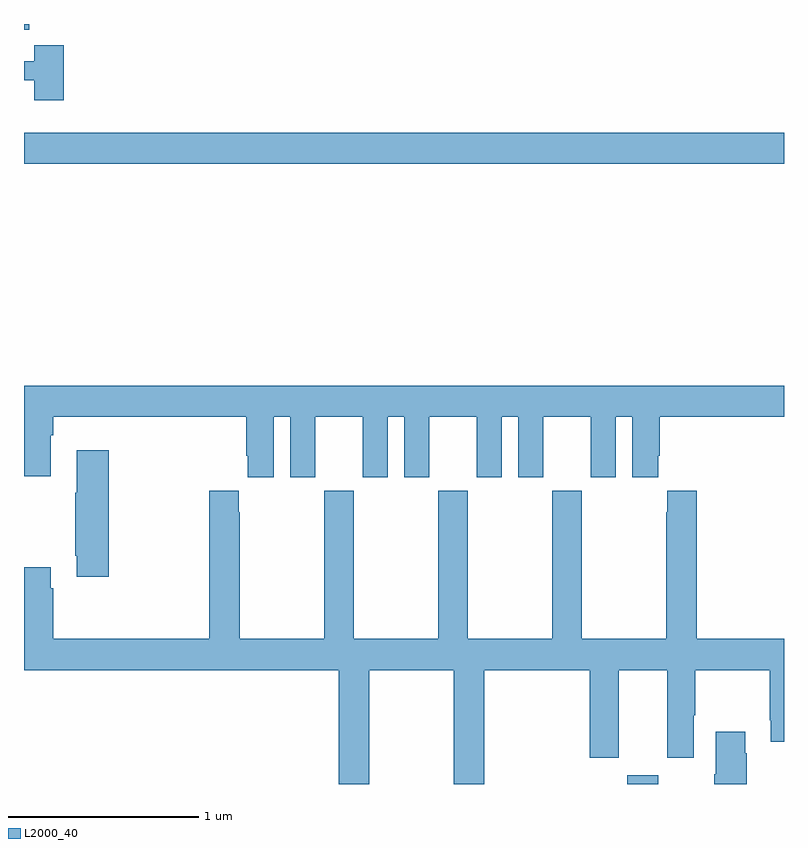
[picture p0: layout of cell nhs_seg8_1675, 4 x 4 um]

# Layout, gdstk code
import gdstk
lib = gdstk.Library(unit=1e-6, precision=1e-09)
def R(c, l, rs):  # rectangles x0, y0, x1, y1
    for r in rs: c.add(gdstk.rectangle(r[:2], r[2:], *l))
def P(c, l, *ps):  # polygons
    for p in ps: c.add(gdstk.Polygon(p, *l))
L2000_40 = (2000, 40)

nhs_seg8_1675 = lib.new_cell('nhs_seg8_1675')
R(nhs_seg8_1675, L2000_40, [(220.175,1115.9,220.339,1115.947), (217,1119.164,221,1119.328), (217,1119.869,217.028,1119.9)])
P(nhs_seg8_1675, L2000_40, [(217.208,1119.787),(217.053,1119.787),(217.053,1119.703),(217,1119.703),(217,1119.603),(217.055,1119.603),(217.055,1119.498),(217.208,1119.498)],
  [(218.314,1117.832),(218.402,1117.832),(218.402,1117.515),(218.533,1117.515),(218.533,1117.832),(218.783,1117.832),(218.783,1117.515),(218.914,1117.515),(218.914,1117.832),(219.002,1117.832),(219.002,1117.515),(219.133,1117.515),(219.133,1117.832),(219.383,1117.832),(219.383,1117.515),(219.514,1117.515),(219.514,1117.832),(219.602,1117.832),(219.602,1117.515),(219.733,1117.515),(219.733,1117.832),(219.983,1117.832),(219.983,1117.515),(220.114,1117.515),(220.114,1117.832),(220.202,1117.832),(220.202,1117.515),(220.339,1117.515),(220.339,1117.627),(220.346,1117.627),(220.346,1117.832),(221,1117.832),(221,1117.996),(217,1117.996),(217,1117.633),(217.001,1117.633),(217.001,1117.521),(217.141,1117.521),(217.141,1117.736),(217.154,1117.736),(217.154,1117.832),(218.171,1117.832),(218.171,1117.627),(218.177,1117.627),(218.177,1117.515),(218.314,1117.515)],
  [(217.445,1117.657),(217.277,1117.657),(217.277,1117.433),(217.27,1117.433),(217.27,1117.102),(217.277,1117.102),(217.277,1116.99),(217.445,1116.99)],
  [(218.817,1116.5),(219.262,1116.5),(219.262,1115.9),(219.422,1115.9),(219.422,1116.5),(219.977,1116.5),(219.977,1116.039),(220.129,1116.039),(220.129,1116.5),(220.385,1116.5),(220.385,1116.039),(220.525,1116.039),(220.525,1116.262),(220.533,1116.262),(220.533,1116.5),(220.924,1116.5),(220.924,1116.235),(220.931,1116.235),(220.931,1116.123),(221,1116.123),(221,1116.664),(220.541,1116.664),(220.541,1117.444),(220.385,1117.444),(220.385,1117.331),(220.381,1117.331),(220.381,1116.664),(219.936,1116.664),(219.936,1117.444),(219.781,1117.444),(219.781,1116.664),(219.336,1116.664),(219.336,1117.444),(219.181,1117.444),(219.181,1116.664),(218.736,1116.664),(218.736,1117.444),(218.581,1117.444),(218.581,1116.664),(218.136,1116.664),(218.136,1117.331),(218.131,1117.331),(218.131,1117.444),(217.976,1117.444),(217.976,1116.664),(217.154,1116.664),(217.154,1116.929),(217.141,1116.929),(217.141,1117.042),(217.001,1117.042),(217.001,1116.664),(217,1116.664),(217,1116.5),(218.657,1116.5),(218.657,1115.9),(218.817,1115.9)],
  [(220.803,1116.062),(220.795,1116.062),(220.795,1116.175),(220.64,1116.175),(220.64,1115.951),(220.633,1115.951),(220.633,1115.9),(220.803,1115.9)])

lib.write_gds('nhs_seg8_1675.gds')
